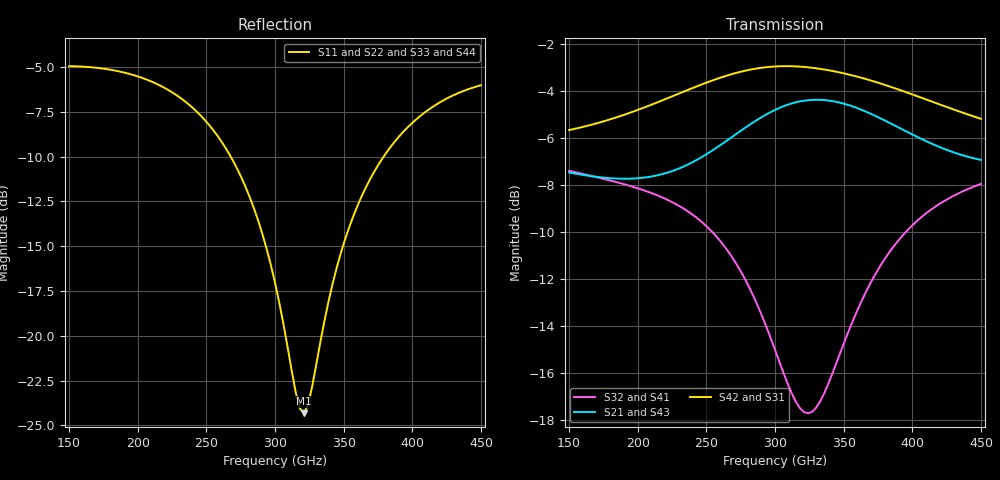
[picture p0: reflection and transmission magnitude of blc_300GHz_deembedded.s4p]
! Created with skrf 2.2.0 (http://scikit-rf.org).
# GHz S DB R 50.0
! Port[1] = P1
! Port[2] = P2
! Port[3] = P3
! Port[4] = P4
!freq dBS11 angS11 dBS12 angS12 dBS13 angS13
! dBS14 angS14
! dBS21 angS21 dBS22 angS22 dBS23 angS23
! dBS24 angS24
! dBS31 angS31 dBS32 angS32 dBS33 angS33
! dBS34 angS34
! dBS41 angS41 dBS42 angS42 dBS43 angS43
! dBS44 angS44
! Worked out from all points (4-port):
!   101 points, 150 GHz to 450 GHz, reference 50 ohm
!   strongest paths, dB at 150 GHz, 225 GHz, 300 GHz, 375 GHz, 450 GHz:
!     S42: -5.7, -4.2, -3.0, -3.7, -5.2
!     S31: -5.7, -4.2, -3.0, -3.7, -5.2
!     S21: -7.5, -7.4, -4.8, -5.1, -6.9
!     S43: -7.5, -7.4, -4.8, -5.1, -7.0
!     S32: -7.4, -8.7, -15.0, -11.6, -8.0
!     S41: -7.4, -8.8, -15.0, -11.6, -8.0
!   lowest |S11| = -24.3 dB at 321 GHz (marker M1), VSWR 1.13, Z = 56.3 - j1.31 ohm
!   |S11| at or under -10 dB: 267.7 GHz to 379.1 GHz (111.4 GHz wide, 34.4 % of centre)
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150  -4.94 159.4  -7.48 -49.0  -5.68 -76.9  -7.42 -59.3
     -7.48 -49.0  -4.95 159.4  -7.41 -59.3  -5.68 -76.9
     -5.68 -76.9  -7.41 -59.3  -4.95 159.4  -7.48 -49.1
     -7.42 -59.3  -5.68 -76.9  -7.48 -49.1  -4.95 159.4
216  -6.02 134.1  -7.58 -60.3  -4.46 -112.3  -8.51 -85.6
     -7.58 -60.3  -6.02 134.2  -8.50 -85.6  -4.46 -112.3
     -4.46 -112.3  -8.50 -85.6  -6.03 134.2  -7.58 -60.4
     -8.51 -85.6  -4.46 -112.3  -7.58 -60.4  -6.02 134.2
261  -9.16 107.6  -6.29 -69.1  -3.44 -141.6  -10.48 -106.7
     -6.29 -69.1  -9.16 107.7  -10.47 -106.7  -3.44 -141.6
     -3.44 -141.6  -10.47 -106.7  -9.18 107.7  -6.29 -69.2
     -10.48 -106.7  -3.44 -141.6  -6.29 -69.2  -9.16 107.6
291  -14.37 80.9  -5.11 -80.9  -3.02 -163.8  -13.67 -116.3
     -5.11 -80.9  -14.38 81.0  -13.66 -116.4  -3.02 -163.7
     -3.02 -163.8  -13.66 -116.4  -14.42 80.9  -5.11 -81.0
     -13.67 -116.3  -3.02 -163.7  -5.11 -81.0  -14.37 80.9
321  -24.33 -11.0  -4.43 -97.4  -2.99 173.5  -17.66 -96.8
     -4.43 -97.4  -24.33 -11.2  -17.67 -97.2  -2.99 173.5
     -2.99 173.5  -17.67 -97.2  -24.31 -12.1  -4.44 -97.4
     -17.66 -96.8  -2.99 173.5  -4.44 -97.4  -24.35 -10.9
369  -11.30 -112.4  -4.97 -123.7  -3.56 138.8  -12.22 -71.7
     -4.97 -123.7  -11.28 -112.3  -12.25 -71.6  -3.56 138.8
     -3.56 138.8  -12.25 -71.6  -11.25 -112.3  -4.98 -123.7
     -12.22 -71.7  -3.56 138.8  -4.98 -123.7  -11.30 -112.4
450  -6.01 -154.0  -6.95 -148.9  -5.20 88.5  -7.95 -107.4
     -6.95 -148.9  -6.00 -153.8  -7.97 -107.3  -5.20 88.5
     -5.20 88.5  -7.97 -107.3  -5.99 -153.8  -6.96 -148.9
     -7.95 -107.4  -5.20 88.5  -6.96 -148.9  -6.00 -154.0
